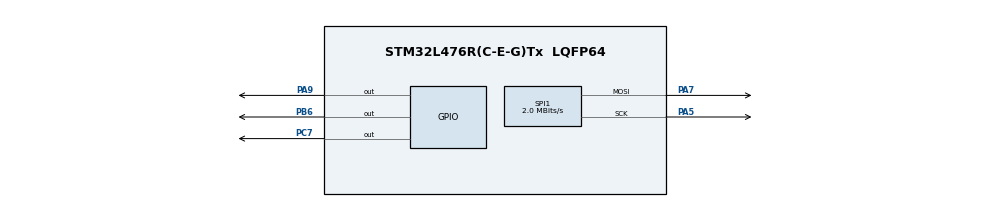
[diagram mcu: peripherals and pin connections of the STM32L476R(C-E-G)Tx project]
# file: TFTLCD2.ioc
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Mcu.Family=STM32L4
Mcu.Name=STM32L476R(C-E-G)Tx
Mcu.Package=LQFP64
NVIC.PriorityGroup=NVIC_PRIORITYGROUP_4
PA5.Mode=TX_Only_Simplex_Unidirect_Master
PA5.Signal=SPI1_SCK
PA7.Mode=TX_Only_Simplex_Unidirect_Master
PA7.Signal=SPI1_MOSI
PA9.Signal=GPIO_Output
PB6.Signal=GPIO_Output
PC7.Signal=GPIO_Output
PH0-OSC_IN\ (PH0).Mode=HSE-External-Oscillator
PH0-OSC_IN\ (PH0).Signal=RCC_OSC_IN
PH1-OSC_OUT\ (PH1).Mode=HSE-External-Oscillator
PH1-OSC_OUT\ (PH1).Signal=RCC_OSC_OUT
ProjectManager.HeapSize=0x200
ProjectManager.StackSize=0x400
ProjectManager.TargetToolchain=SW4STM32
RCC.HSE_VALUE=8000000
RCC.HSI_VALUE=16000000
RCC.LSE_VALUE=32768
RCC.MSI_VALUE=4000000
RCC.VCOOutputFreq_Value=32000000
SPI1.CalculateBaudRate=2.0 MBits/s
SPI1.DataSize=SPI_DATASIZE_8BIT
SPI1.Direction=SPI_DIRECTION_2LINES
SPI1.Mode=SPI_MODE_MASTER
SPI1.VirtualType=VM_MASTER
board=custom

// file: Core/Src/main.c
/* USER CODE BEGIN Header */
/**
  ******************************************************************************
  * @file           : main.c
  * @brief          : Main program body
  ******************************************************************************
  * @attention
  *
  * <h2><center>&copy; Copyright (c) 2021 STMicroelectronics.
  * All rights reserved.</center></h2>
  *
  * This software component is licensed by ST under BSD 3-Clause license,
  * the "License"; You may not use this file except in compliance with the
  * License. You may obtain a copy of the License at:
  *                        opensource.org/licenses/BSD-3-Clause
  *
  ******************************************************************************
  */
/* USER CODE END Header */
#include "main.h"

/* USER CODE BEGIN Includes */
#include "ST7735.h"
#include "GFX_FUNCTIONS.h"
/* USER CODE END Includes */

SPI_HandleTypeDef hspi1;

void SystemClock_Config(void);
static void MX_GPIO_Init(void);
static void MX_SPI1_Init(void);

/* USER CODE BEGIN 0 */
int brickRowCount = 5;
int brickColumnCount = 11;
int brickWidth = 10;
int brickHeight = 10;
int brickPadding = 1;
int brickOffsetTop = 1;
int brickOffsetLeft = 1;

int ball_radius = 4;
int ball_x = 50;
int ball_y = 90;
int ball_x_speed = 2;
int ball_y_speed = 2;

struct Brick {
	int x;
	int y;
	int status;
};

struct Brick Brick_Field[15][15];

void collisionDetection(){
	for (int row=0; row<brickRowCount; row++)
	{
		for (int col=0; col<brickColumnCount; col++)
		{
			struct Brick b = Brick_Field[row][col];
			if (b.status == 1)
			{
//				if (ball_x+ball_radius>=b.x && ball_x-ball_radius<=b.x+brickWidth && ball_y+ball_radius>=b.y && ball_y-ball_radius<=b.y+brickHeight)
//				{
//					ball_y_speed = -ball_y_speed;
//					Brick_Field[row][col].status = 0;
//					fillRect(Brick_Field[row][col].x, Brick_Field[row][col].y, brickWidth, brickHeight, BLACK);
//				}
				//left -> right side
				if(ball_x+ball_radius>=b.x && ball_x+ball_radius<=b.x+brickWidth && ball_y>b.y && ball_y<b.y+brickHeight)
				{
					ball_x_speed = -ball_x_speed;
					Brick_Field[row][col].status = 0;
					fillRect(Brick_Field[row][col].x, Brick_Field[row][col].y, brickWidth, brickHeight, BLACK);
				}
				//right -> left side
				else if (ball_x-ball_radius>=b.x && ball_x-ball_radius<=b.x+brickWidth && ball_y>b.y && ball_y<b.y+brickHeight)
				{
					ball_x_speed = -ball_x_speed;
					Brick_Field[row][col].status = 0;
					fillRect(Brick_Field[row][col].x, Brick_Field[row][col].y, brickWidth, brickHeight, BLACK);
				}
				//up -> down side
				else if (ball_y+ball_radius>=b.y && ball_y+ball_radius<=b.y+brickHeight && ball_x>b.x && ball_x<b.x+brickWidth)
				{

					ball_y_speed = -ball_y_speed;
					Brick_Field[row][col].status = 0;
					fillRect(Brick_Field[row][col].x, Brick_Field[row][col].y, brickWidth, brickHeight, BLACK);
				}
				//down -> up side
				else if (ball_y-ball_radius>=b.y && ball_y-ball_radius<=b.y+brickHeight && ball_x>b.x && ball_x<b.x+brickWidth)
				{

					ball_y_speed = -ball_y_speed;
					Brick_Field[row][col].status = 0;
					fillRect(Brick_Field[row][col].x, Brick_Field[row][col].y, brickWidth, brickHeight, BLACK);
				}
			}
		}
	}
}

/* USER CODE END 0 */

int main(void)
{

  /* MCU Configuration--------------------------------------------------------*/

  /* Reset of all peripherals, Initializes the Flash interface and the Systick. */
  HAL_Init();

  /* Configure the system clock */
  SystemClock_Config();

  /* Initialize all configured peripherals */
  MX_GPIO_Init();
  MX_SPI1_Init();
  /* USER CODE BEGIN 2 */
  ST7735_Init(0);
  fillScreen(BLACK);

  /* construct block field */

  for(int row=0; row<brickRowCount; row++)
  {
	  for(int col=0; col<brickColumnCount; col++)
	  {
		  Brick_Field[row][col].x = (col*(brickWidth+brickPadding))+brickOffsetLeft + 4;
		  Brick_Field[row][col].y = (row*(brickHeight+brickPadding))+brickOffsetTop;
		  Brick_Field[row][col].status = 1;
		  fillRect(Brick_Field[row][col].x, Brick_Field[row][col].y, brickWidth, brickHeight, YELLOW);
	  }
  }

//  int w = 10;
//    for(int y=0; y+w<=60; y=y+w+1)
//    {
//		for(int x=4; x+w<=128; x=x+w+1)
//		{
//			fillRect(x, y, w, w, YELLOW);
//		}
//    }

//    fillCircle(50, 90, 4, MAGENTA);
//    fillRect(60, 120, 30, 5, GREEN);
//    fillRect(60, 120, 30, 5, BLACK);
//    fillRect(55, 120, 30, 5, GREEN);
//    fillRect(55, 120, 30, 5, BLACK);
//    fillRect(50, 120, 30, 5, GREEN);
//    fillRect(50, 120, 30, 5, BLACK);
//    fillRect(45, 120, 30, 5, GREEN);
//    fillRect(45, 120, 30, 5, BLACK);
//    fillRect(40, 120, 30, 5, GREEN);

  /* USER CODE END 2 */

  /* Infinite loop */
  /* USER CODE BEGIN WHILE */
  int x=60;
  int y=120;
  int direct = 0;
  fillRect(60, 120, 30, 5, GREEN);
  drawCircle(50, 90, 4, CYAN);

  while (1)
  {
	  collisionDetection();
	  drawCircle(ball_x, ball_y, 4, BLACK);
	  if(ball_y >= 124) ball_y_speed = -ball_y_speed;
	  if(ball_x == 4 || ball_x == 124) ball_x_speed = -ball_x_speed;
	  ball_x += ball_x_speed;
	  ball_y += ball_y_speed;
	  drawCircle(ball_x, ball_y, 4, CYAN);

	  if(direct==0 && x>=0 && x<=98)
	  {
		  fillRect(x+1, 120, 30, 5, GREEN);
		  fillRect(x, 120, 1, 5, BLACK);
		  x++;
	  }
	  if(direct==1 && x>=0 && x<=98)
	  {
		  fillRect(x-1, 120, 30, 5, GREEN);
		  fillRect(x+29, 120, 1, 5, BLACK);
		  x--;
	  }
	  if(x<=10)
	  {
		  direct=0;
	  }
	  else if(x>=90)
	  {
		  direct=1;
	  }
    /* USER CODE END WHILE */

  }
}

void SystemClock_Config(void)
{
  RCC_OscInitTypeDef RCC_OscInitStruct = {0};
  RCC_ClkInitTypeDef RCC_ClkInitStruct = {0};

  /** Initializes the RCC Oscillators according to the specified parameters
  * in the RCC_OscInitTypeDef structure.
  */
  RCC_OscInitStruct.OscillatorType = RCC_OSCILLATORTYPE_MSI;
  RCC_OscInitStruct.MSIState = RCC_MSI_ON;
  RCC_OscInitStruct.MSICalibrationValue = 0;
  RCC_OscInitStruct.MSIClockRange = RCC_MSIRANGE_6;
  RCC_OscInitStruct.PLL.PLLState = RCC_PLL_NONE;
  if (HAL_RCC_OscConfig(&RCC_OscInitStruct) != HAL_OK)
  {
    Error_Handler();
  }
  /** Initializes the CPU, AHB and APB buses clocks
  */
  RCC_ClkInitStruct.ClockType = RCC_CLOCKTYPE_HCLK|RCC_CLOCKTYPE_SYSCLK
                              |RCC_CLOCKTYPE_PCLK1|RCC_CLOCKTYPE_PCLK2;
  RCC_ClkInitStruct.SYSCLKSource = RCC_SYSCLKSOURCE_MSI;
  RCC_ClkInitStruct.AHBCLKDivider = RCC_SYSCLK_DIV1;
  RCC_ClkInitStruct.APB1CLKDivider = RCC_HCLK_DIV1;
  RCC_ClkInitStruct.APB2CLKDivider = RCC_HCLK_DIV1;

  if (HAL_RCC_ClockConfig(&RCC_ClkInitStruct, FLASH_LATENCY_0) != HAL_OK)
  {
    Error_Handler();
  }
  /** Configure the main internal regulator output voltage
  */
  if (HAL_PWREx_ControlVoltageScaling(PWR_REGULATOR_VOLTAGE_SCALE1) != HAL_OK)
  {
    Error_Handler();
  }
}

static void MX_SPI1_Init(void)
{

  /* SPI1 parameter configuration*/
  hspi1.Instance = SPI1;
  hspi1.Init.Mode = SPI_MODE_MASTER;
  hspi1.Init.Direction = SPI_DIRECTION_2LINES;
  hspi1.Init.DataSize = SPI_DATASIZE_8BIT;
  hspi1.Init.CLKPolarity = SPI_POLARITY_LOW;
  hspi1.Init.CLKPhase = SPI_PHASE_1EDGE;
  hspi1.Init.NSS = SPI_NSS_SOFT;
  hspi1.Init.BaudRatePrescaler = SPI_BAUDRATEPRESCALER_2;
  hspi1.Init.FirstBit = SPI_FIRSTBIT_MSB;
  hspi1.Init.TIMode = SPI_TIMODE_DISABLE;
  hspi1.Init.CRCCalculation = SPI_CRCCALCULATION_DISABLE;
  hspi1.Init.CRCPolynomial = 7;
  hspi1.Init.CRCLength = SPI_CRC_LENGTH_DATASIZE;
  hspi1.Init.NSSPMode = SPI_NSS_PULSE_ENABLE;
  if (HAL_SPI_Init(&hspi1) != HAL_OK)
  {
    Error_Handler();
  }

}

static void MX_GPIO_Init(void)
{
  GPIO_InitTypeDef GPIO_InitStruct = {0};

  /* GPIO Ports Clock Enable */
  __HAL_RCC_GPIOH_CLK_ENABLE();
  __HAL_RCC_GPIOA_CLK_ENABLE();
  __HAL_RCC_GPIOC_CLK_ENABLE();
  __HAL_RCC_GPIOB_CLK_ENABLE();

  /*Configure GPIO pin Output Level */
  HAL_GPIO_WritePin(GPIOC, GPIO_PIN_7, GPIO_PIN_RESET);

  /*Configure GPIO pin Output Level */
  HAL_GPIO_WritePin(GPIOA, GPIO_PIN_9, GPIO_PIN_RESET);

  /*Configure GPIO pin Output Level */
  HAL_GPIO_WritePin(GPIOB, GPIO_PIN_6, GPIO_PIN_RESET);

  /*Configure GPIO pin : PC7 */
  GPIO_InitStruct.Pin = GPIO_PIN_7;
  GPIO_InitStruct.Mode = GPIO_MODE_OUTPUT_PP;
  GPIO_InitStruct.Pull = GPIO_NOPULL;
  GPIO_InitStruct.Speed = GPIO_SPEED_FREQ_LOW;
  HAL_GPIO_Init(GPIOC, &GPIO_InitStruct);

  /*Configure GPIO pin : PA9 */
  GPIO_InitStruct.Pin = GPIO_PIN_9;
  GPIO_InitStruct.Mode = GPIO_MODE_OUTPUT_PP;
  GPIO_InitStruct.Pull = GPIO_NOPULL;
  GPIO_InitStruct.Speed = GPIO_SPEED_FREQ_LOW;
  HAL_GPIO_Init(GPIOA, &GPIO_InitStruct);

  /*Configure GPIO pin : PB6 */
  GPIO_InitStruct.Pin = GPIO_PIN_6;
  GPIO_InitStruct.Mode = GPIO_MODE_OUTPUT_PP;
  GPIO_InitStruct.Pull = GPIO_NOPULL;
  GPIO_InitStruct.Speed = GPIO_SPEED_FREQ_LOW;
  HAL_GPIO_Init(GPIOB, &GPIO_InitStruct);

}

void Error_Handler(void)
{
  __disable_irq();
  while (1)
  {
  }
}

/************************ (C) COPYRIGHT STMicroelectronics *****END OF FILE****/
